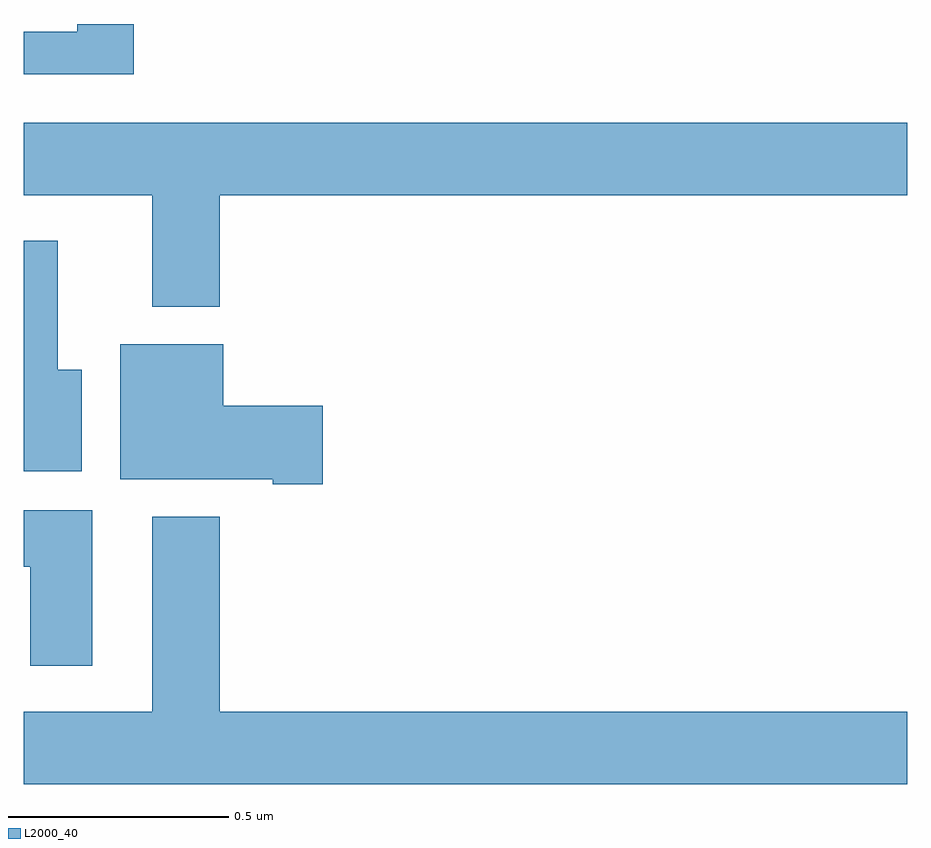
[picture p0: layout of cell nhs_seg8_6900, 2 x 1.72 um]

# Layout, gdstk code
import gdstk
lib = gdstk.Library(unit=1e-6, precision=1e-09)
def P(c, l, *ps):  # polygons
    for p in ps: c.add(gdstk.Polygon(p, *l))
L2000_40 = (2000, 40)

nhs_seg8_6900 = lib.new_cell('nhs_seg8_6900')
P(nhs_seg8_6900, L2000_40, [(203.249,1104.9),(203.121,1104.9),(203.121,1104.883),(203,1104.883),(203,1104.786),(203.249,1104.786)],
  [(203.444,1104.512),(205,1104.512),(205,1104.676),(203,1104.676),(203,1104.512),(203.291,1104.512),(203.291,1104.26),(203.444,1104.26)],
  [(203.131,1104.118),(203.077,1104.118),(203.077,1104.409),(203,1104.409),(203,1103.888),(203.131,1103.888)],
  [(203.677,1104.036),(203.452,1104.036),(203.452,1104.175),(203.219,1104.175),(203.219,1103.87),(203.564,1103.87),(203.564,1103.858),(203.677,1103.858)],
  [(203.155,1103.8),(203,1103.8),(203,1103.672),(203.015,1103.672),(203.015,1103.448),(203.155,1103.448)],
  [(205,1103.344),(203.444,1103.344),(203.444,1103.785),(203.291,1103.785),(203.291,1103.344),(203,1103.344),(203,1103.18),(205,1103.18)])

lib.write_gds('nhs_seg8_6900.gds')
